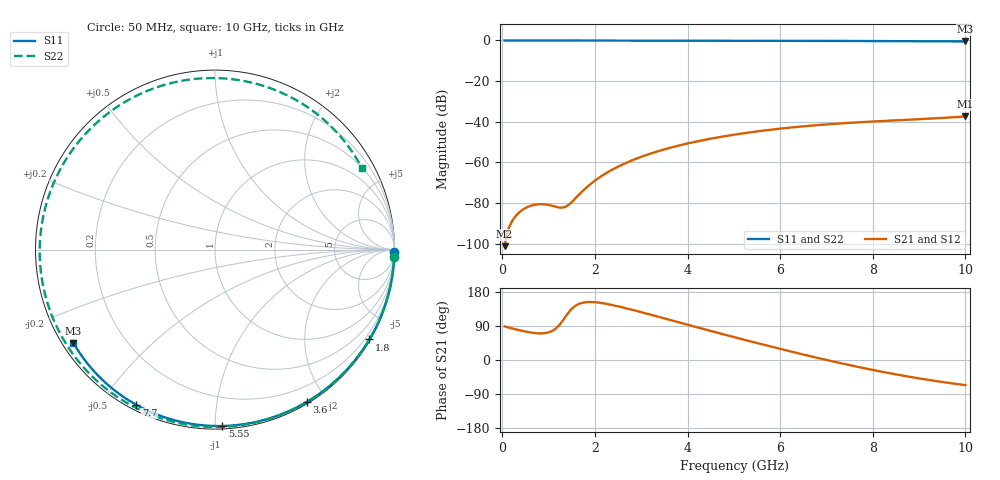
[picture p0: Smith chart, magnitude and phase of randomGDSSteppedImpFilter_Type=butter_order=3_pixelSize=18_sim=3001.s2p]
! freq	dB(S11)	phase(S11)	dB(S12)	phase(S12)
!  dB(S21)	phase(S21)	dB(S22)	phase(S22)
!S-par simulation data
#  GHz  S  DB  R 50
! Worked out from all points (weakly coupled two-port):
!   200 points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, 50 MHz to 10 GHz, reference 50 ohm
!   highest |S21| = -37.40 dB at 10 GHz (marker M1); lowest = -101.2 dB at 50 MHz (marker M2)
!   lowest |S11| = -0.5 dB at 10 GHz (marker M3), VSWR 35.13, Z = 1.55 - j15 ohm
!   |S11| at or under -10 dB: nowhere
!   |S22| runs from -0.6 to 0.0 dB; largest |S21 - S12| = 0
!   S11 on the Smith chart (normalised r, x): 50 MHz: open; 1.8 GHz: 0.03, -3.71; 3.6 GHz: 0.02, -1.77; 5.55 GHz: 0.02, -1.04; 7.7 GHz: 0.02, -0.61; 10 GHz: 0.03, -0.30
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0.05  -0.00 -0.9  -101.19 88.6  -101.19 88.6  -0.00 -2.5
0.35  -0.01 -6.0  -84.87 79.0  -84.87 79.0  -0.02 -17.0
0.65  -0.01 -11.0  -81.08 71.9  -81.08 71.9  -0.04 -31.3
1.05  -0.02 -17.8  -81.17 75.3  -81.17 75.3  -0.06 -49.7
1.45  -0.03 -24.4  -80.50 128.3  -80.50 128.3  -0.08 -67.2
1.75  -0.04 -29.4  -73.73 151.5  -73.73 151.5  -0.09 -79.6
1.8  -0.04 -30.2  -72.68 152.4  -72.68 152.4  -0.09 -81.6
2.1  -0.04 -35.1  -67.33 151.1  -67.33 151.1  -0.10 -93.3
2.45  -0.05 -40.8  -62.64 143.0  -62.64 143.0  -0.11 -106.3
2.9  -0.06 -48.0  -58.09 129.5  -58.09 129.5  -0.13 -121.8
3.4  -0.07 -55.8  -54.24 113.1  -54.24 113.1  -0.15 -137.9
3.6  -0.08 -58.9  -52.94 106.4  -52.94 106.4  -0.15 -144.1
4.3  -0.10 -69.5  -49.21 83.3  -49.21 83.3  -0.18 -164.7
5.05  -0.12 -80.5  -46.19 59.0  -46.19 59.0  -0.21 174.3
5.55  -0.14 -87.7  -44.59 43.2  -44.59 43.2  -0.24 160.7
6.1  -0.17 -95.3  -43.13 26.3  -43.13 26.3  -0.27 145.6
6.7  -0.20 -103.5  -41.83 8.6  -41.83 8.6  -0.30 129.0
7.2  -0.23 -110.2  -40.96 -5.5  -40.96 -5.5  -0.34 114.8
7.7  -0.27 -116.9  -40.24 -18.8  -40.24 -18.8  -0.37 100.3
8.35  -0.32 -125.3  -39.45 -34.6  -39.45 -34.6  -0.42 80.8
9.15  -0.40 -135.7  -38.55 -51.5  -38.55 -51.5  -0.48 56.0
10  -0.49 -146.6  -37.40 -66.3  -37.40 -66.3  -0.58 29.1
